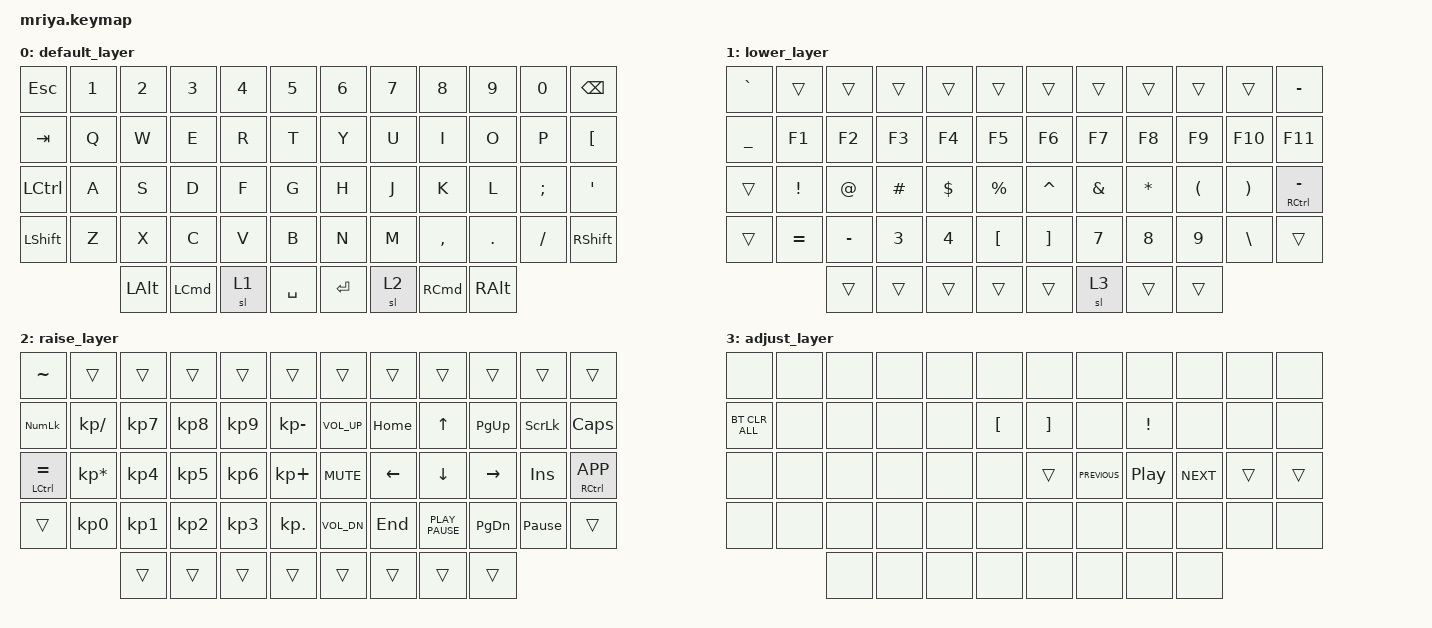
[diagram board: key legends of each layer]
/*
 * Copyright (c) 2023 Andrei Gaevskii
 *
 * SPDX-License-Identifier: MIT
 */

#include <behaviors.dtsi>
#include <dt-bindings/zmk/bt.h>
#include <dt-bindings/zmk/keys.h>

#define DEF 0
#define LWR 1
#define RSE 2
#define ADJ 3

&lt { quick_tap_ms = <200>; };

&mt { quick_tap_ms = <200>; };

/ {
    keymap {
        compatible = "zmk,keymap";

        default_layer {
            bindings = <
  &kp ESCAPE      &kp N1  &kp N2        &kp N3    &kp N4  &kp N5       &kp N6      &kp N7  &kp N8     &kp N9         &kp N0    &kp BACKSPACE
  &kp TAB         &kp Q   &kp W         &kp E     &kp R   &kp T        &kp Y       &kp U   &kp I      &kp O          &kp P     &kp LBKT
  &kp LCTRL       &kp A   &kp S         &kp D     &kp F   &kp G        &kp H       &kp J   &kp K      &kp L          &kp SEMI  &kp SQT
  &kp LEFT_SHIFT  &kp Z   &kp X         &kp C     &kp V   &kp B        &kp N       &kp M   &kp COMMA  &kp DOT        &kp FSLH  &kp RIGHT_SHIFT
                          &kp LEFT_ALT  &kp LCMD  &sl 1   &kp SPACE    &kp RETURN  &sl 2   &kp RCMD   &kp RIGHT_ALT
            >;
        };

        lower_layer {
            bindings = <
  &kp GRAVE  &trans     &trans     &trans    &trans    &trans              &trans             &trans    &trans    &trans    &trans         &kp MINUS
  &kp UNDER  &kp F1     &kp F2     &kp F3    &kp F4    &kp F5              &kp F6             &kp F7    &kp F8    &kp F9    &kp F10        &kp F11
  &trans     &kp EXCL   &kp AT     &kp HASH  &kp DLLR  &kp PRCNT           &kp CARET          &kp AMPS  &kp STAR  &kp LPAR  &kp RPAR       &mt RCTRL MINUS
  &trans     &kp EQUAL  &kp MINUS  &kp N3    &kp N4    &kp LEFT_BRACKET    &kp RIGHT_BRACKET  &kp N7    &kp N8    &kp N9    &kp BACKSLASH  &trans
                        &trans     &trans    &trans    &trans              &trans             &sl 3     &trans    &trans
            >;
        };

        raise_layer {
            bindings = <
  &kp TILDE        &trans           &trans     &trans     &trans     &trans          &trans        &trans    &trans            &trans     &trans           &trans
  &kp KP_NUM       &kp KP_SLASH     &kp KP_N7  &kp KP_N8  &kp KP_N9  &kp KP_MINUS    &kp C_VOL_UP  &kp HOME  &kp UP_ARROW      &kp PG_UP  &kp SLCK         &kp CAPS
  &mt LCTRL EQUAL  &kp KP_MULTIPLY  &kp KP_N4  &kp KP_N5  &kp KP_N6  &kp KP_PLUS     &kp C_MUTE    &kp LEFT  &kp DOWN_ARROW    &kp RIGHT  &kp INS          &mt RCTRL K_APP
  &trans           &kp KP_N0        &kp KP_N1  &kp KP_N2  &kp KP_N3  &kp KP_DOT      &kp C_VOL_DN  &kp END   &kp K_PLAY_PAUSE  &kp PG_DN  &kp PAUSE_BREAK  &trans
                                    &trans     &trans     &trans     &trans          &trans        &trans    &trans            &trans
            >;
        };

        adjust_layer {
            bindings = <
  &none           &none  &none  &none  &none  &none               &none              &none           &none             &none       &none   &none
  &bt BT_CLR_ALL  &none  &none  &none  &none  &kp LEFT_BRACKET    &kp RIGHT_BRACKET  &none           &kp EXCLAMATION   &none       &none   &none
  &none           &none  &none  &none  &none  &none               &trans             &kp C_PREVIOUS  &kp C_PLAY_PAUSE  &kp C_NEXT  &trans  &trans
  &none           &none  &none  &none  &none  &none               &none              &none           &none             &none       &none   &none
                         &none  &none  &none  &none               &none              &none           &none             &none
            >;
        };
    };
};
